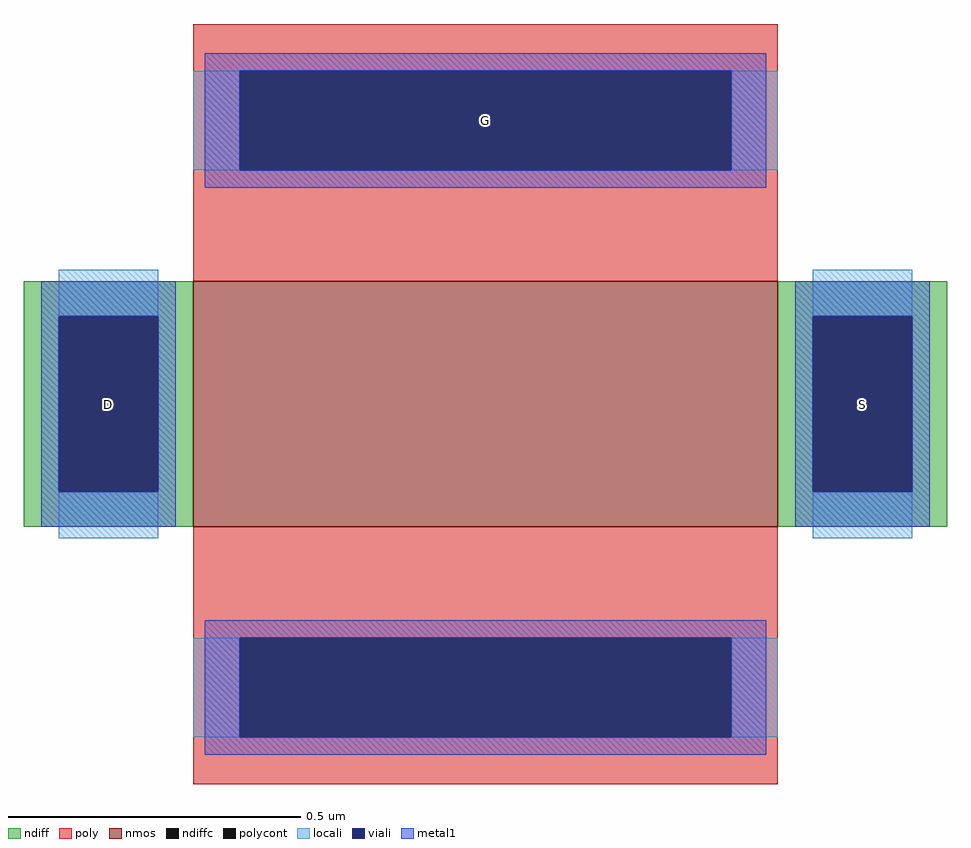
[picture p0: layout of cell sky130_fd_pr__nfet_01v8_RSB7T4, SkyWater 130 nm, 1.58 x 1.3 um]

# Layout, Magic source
magic
tech sky130A
magscale 1 2
<< nmos >>
rect -100 -42 100 42
<< ndiff >>
rect -158 30 -100 42
rect -158 -30 -146 30
rect -112 -30 -100 30
rect -158 -42 -100 -30
rect 100 30 158 42
rect 100 -30 112 30
rect 146 -30 158 30
rect 100 -42 158 -30
<< ndiffc >>
rect -146 -30 -112 30
rect 112 -30 146 30
<< poly >>
rect -100 114 100 130
rect -100 80 -84 114
rect 84 80 100 114
rect -100 42 100 80
rect -100 -80 100 -42
rect -100 -114 -84 -80
rect 84 -114 100 -80
rect -100 -130 100 -114
<< polycont >>
rect -84 80 84 114
rect -84 -114 84 -80
<< locali >>
rect -100 80 -84 114
rect 84 80 100 114
rect -146 30 -112 46
rect -146 -46 -112 -30
rect 112 30 146 46
rect 112 -46 146 -30
rect -100 -114 -84 -80
rect 84 -114 100 -80
<< viali >>
rect -84 80 84 114
rect -146 -30 -112 30
rect 112 -30 146 30
rect -84 -114 84 -80
<< metal1 >>
rect -96 114 96 120
rect -96 80 -84 114
rect 84 80 96 114
rect -96 74 96 80
rect -152 30 -106 42
rect -152 -30 -146 30
rect -112 -30 -106 30
rect -152 -42 -106 -30
rect 106 30 152 42
rect 106 -30 112 30
rect 146 -30 152 30
rect 106 -42 152 -30
rect -96 -80 96 -74
rect -96 -114 -84 -80
rect 84 -114 96 -80
rect -96 -120 96 -114
<< labels >>
rlabel ndiffc -129 0 -129 0 0 D
port 1 nsew
rlabel ndiffc 129 0 129 0 0 S
port 2 nsew
rlabel polycont 0 97 0 97 0 G
port 3 nsew
<< properties >>
string gencell sky130_fd_pr__nfet_01v8
string library sky130
string parameters w 0.42 l 1 m 1 nf 1 diffcov 100 polycov 100 guard 0 glc 1 grc 1 gtc 1 gbc 1 tbcov 100 rlcov 100 topc 1 botc 1 poverlap 0 doverlap 1 lmin 0.15 wmin 0.42 class mosfet compatible {sky130_fd_pr__nfet_01v8 sky130_fd_pr__nfet_01v8_lvt  sky130_fd_bs_flash__special_sonosfet_star  sky130_fd_pr__nfet_g5v0d10v5 sky130_fd_pr__nfet_05v0_nvt  sky130_fd_pr__nfet_03v3_nvt} full_metal 1 conn_gates 0 viasrc 100 viadrn 100 viagate 100 viagb 0 viagr 0 viagl 0 viagt 0 doports 1
<< end >>
